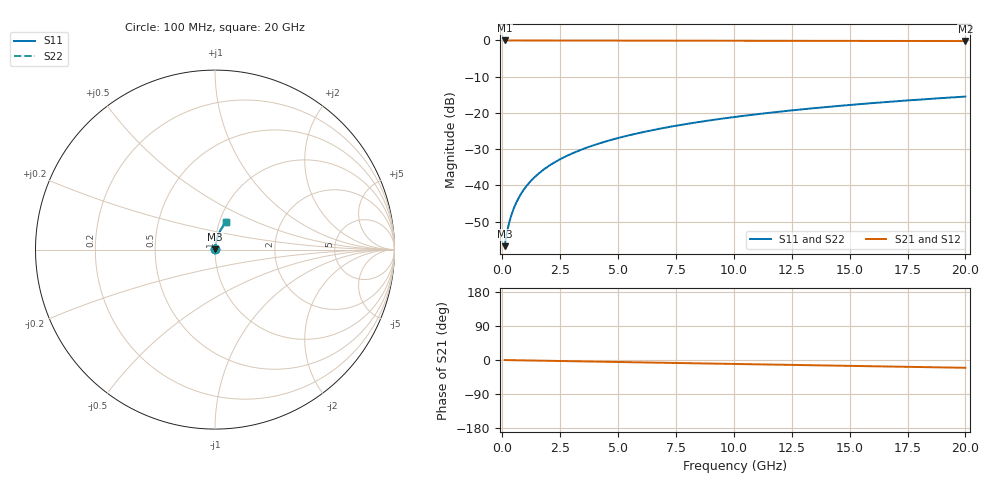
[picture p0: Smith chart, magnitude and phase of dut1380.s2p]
! Touchstone file exported from HFSS 2026.1.0
!  File:  C:/ffzhzh/LocalFiles/Ansys_Project_Files/temp_train_BSMRDL_1380_1783179540_51560.aedt
!  Generated:  11:40:18 PM Jul  4, 2026
!  Design:  BSMRDL
!  Project:  temp_train_BSMRDL_1380_1783179540_51560
! Variables:
!  h_bsmrdl = 4.38um
!  h_ox = 20um
!  h_rdl = 5um
!  h_sub = 80um
!  h_tmrdl = 5um
!  h_tsv = 80um
!  h_via = 3um
!  l_bsmrdl = 286.99um
!  l_sub = 686.99um
!  l_tmrdl = 200um
!  m_sub = 200um
!  pitch = 51.43um
!  r_tsv = 6um
!  s_tmrdl = 10um
!  w_bsmrdl = 29.53um
!  w_sub = 500um
!  w_tmrdl = 12um
!  x_tsv_center1 = 206um
!  x_tsv_center2 = 522.52um
!  x_tsv_center3 = 734.52um
!  x_tsv_center4 = 1051.04um
!  x_tsv_center5 = 1263.04um
!  x_tsv_center6 = 1579.56um
# GHz S MA R 50.000000
! Terminal data exported
! Port[1] = BSM_RDL1_1_T1
! Port[2] = BSM_RDL1_1_T2
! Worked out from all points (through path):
!   200 points, 100 MHz to 20 GHz, reference 50 ohm
!   highest |S21| = -0.01 dB at 100 MHz (marker M1); lowest = -0.2 dB at 20 GHz (marker M2)
!   group delay of S21, straight-line fit = 2.85 ps
!   lowest |S11| = -56.8 dB at 100 MHz (marker M3), VSWR 1.00, Z = 50.1 + j0.104 ohm
!   |S11| at or under -10 dB: start of sweep to end of sweep
!   |S22| runs from -56.8 to -15.5 dB; largest |S21 - S12| = 2.3e-15
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0.1  0.001445 45.7  0.999 -0.1  0.999 -0.1  0.001445 45.7
! Gamma 0 0 0 0
! Port Impedance 50 0 50 0
0.2  0.002243 60.8  0.9989 -0.2  0.9989 -0.2  0.002243 60.8
0.3  0.003081 68.2  0.9988 -0.3  0.9988 -0.3  0.003081 68.2
0.4  0.003948 72.6  0.9988 -0.4  0.9988 -0.4  0.003948 72.6
0.5  0.004832 75.4  0.9987 -0.5  0.9987 -0.5  0.004832 75.4
0.6  0.005728 77.4  0.9987 -0.6  0.9987 -0.6  0.005728 77.4
0.8  0.007536 79.8  0.9987 -0.9  0.9987 -0.9  0.007536 79.8
1.1  0.01026 81.6  0.9986 -1.2  0.9986 -1.2  0.01026 81.6
1.3  0.01208 82.3  0.9985 -1.4  0.9985 -1.4  0.01208 82.3
1.5  0.0139 82.7  0.9985 -1.6  0.9985 -1.6  0.0139 82.7
1.8  0.01662 83.0  0.9983 -1.9  0.9983 -1.9  0.01662 83.0
2.1  0.01932 83.1  0.9982 -2.2  0.9982 -2.2  0.01932 83.1
2.7  0.0247 83.0  0.9979 -2.9  0.9979 -2.9  0.0247 83.0
3.5  0.0318 82.6  0.9975 -3.7  0.9975 -3.7  0.0318 82.6
4.2  0.03796 82.1  0.997 -4.4  0.997 -4.4  0.03796 82.1
5  0.04494 81.5  0.9965 -5.3  0.9965 -5.3  0.04494 81.5
6.8  0.06045 79.9  0.9951 -7.1  0.9951 -7.1  0.06045 79.9
8.3  0.0732 78.6  0.9938 -8.7  0.9938 -8.7  0.0732 78.6
10.1  0.08832 76.9  0.9922 -10.5  0.9922 -10.5  0.08832 76.9
13.4  0.1156 73.9  0.9888 -13.9  0.9888 -13.9  0.1156 73.9
16.7  0.1421 70.7  0.9849 -17.2  0.9849 -17.2  0.1421 70.7
20  0.1679 67.6  0.9804 -20.6  0.9804 -20.6  0.1679 67.6
